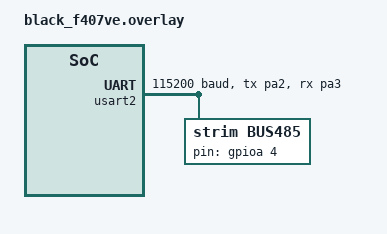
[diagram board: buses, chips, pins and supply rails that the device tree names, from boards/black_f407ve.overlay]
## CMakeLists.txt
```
cmake_minimum_required(VERSION 3.20.0)

list(APPEND ZEPHYR_EXTRA_MODULES "${CMAKE_SOURCE_DIR}/../../Bus485" "${CMAKE_SOURCE_DIR}/.." "${CMAKE_SOURCE_DIR}/../../../boards/third-party")
#list(APPEND ZEPHYR_EXTRA_MODULES "${CMAKE_SOURCE_DIR}/..")
find_package(Zephyr REQUIRED HINTS $ENV{ZEPHYR_BASE})
project(app)

target_sources(app PRIVATE src/main.c)

if(DEFINED CONFIG_BOARD_SEMC_ECX)
  target_sources(app PRIVATE src/arm_mpu_custom_regions.c)
endif()
```

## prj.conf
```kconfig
CONFIG_LOG=y
CONFIG_SHELL=y
CONFIG_LOG_DEFAULT_LEVEL=3
CONFIG_CRC=y

CONFIG_STRIM_BUS485=y

CONFIG_STRIM_METERS2=y
CONFIG_STRIM_METERS2_SHELL=y
CONFIG_STRIM_METERS2_VALID_DATA_TIMEOUT=10000
CONFIG_STRIM_METERS2_BUS485_ENABLE=y

CONFIG_FPU=y
CONFIG_NEWLIB_LIBC=y
CONFIG_NEWLIB_LIBC_FLOAT_PRINTF=y
```

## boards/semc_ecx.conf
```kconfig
CONFIG_NO_OPTIMIZATIONS=y
CONFIG_DEBUG=y
CONFIG_DEBUG_THREAD_INFO=y
CONFIG_OUTPUT_DISASSEMBLY=y

# без загрузочного заголовка
CONFIG_NXP_IMXRT_BOOT_HEADER=n

CONFIG_FLASH_SIZE=11264 
CONFIG_FLASH_BASE_ADDRESS=0x80100000
CONFIG_SRAM_SIZE=20480
CONFIG_SRAM_BASE_ADDRESS=0x80C00000
# по-простому включаем XIP, но FLASH и SRAM размещаем в разных местах SDRAM
# в перспективе надо сделать более умную линковку, чтобы .data не копировалась в SRAM
CONFIG_XIP=y
CONFIG_INIT_ARCH_HW_AT_BOOT=y
CONFIG_NXP_IMX_RT_USER_MPU_REGIONS=y
CONFIG_USERSPACE=y
CONFIG_APPLICATION_DEFINED_SYSCALL=y
CONFIG_STACK_CANARIES=n

# побольше стека, так как форматирование файловой системы много памяти требует
CONFIG_MAIN_STACK_SIZE=16384
CONFIG_ISR_STACK_SIZE=16384
CONFIG_SYSTEM_WORKQUEUE_STACK_SIZE=16384

CONFIG_REBOOT=n

CONFIG_HEAP_MEM_POOL_SIZE=163840

CONFIG_SHELL=y
CONFIG_SHELL_CMDS=n
CONFIG_SHELL_STACK_SIZE=16384
CONFIG_SHELL_BACKEND_SERIAL_LOG_MESSAGE_QUEUE_SIZE=2048

CONFIG_FPU=y
CONFIG_NEWLIB_LIBC=y
CONFIG_NEWLIB_LIBC_FLOAT_PRINTF=y
CONFIG_POSIX_TIMERS=n


#CONFIG_BOOTCONFIG=n
```

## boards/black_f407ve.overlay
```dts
/ { 
    chosen {
        strim,meter-bus485 = &b485;
    };
};

&usart2 {
    current-speed = <115200>;
    pinctrl-0 = <&usart2_tx_pa2 &usart2_rx_pa3>;
    pinctrl-names= "default";
    status="okay";
    b485: bus485 {
        compatible = "strim,bus485";
        pin-gpios = <&gpioa 4 GPIO_ACTIVE_HIGH>;
        label="bus485";
        status="okay";
    };
};
```

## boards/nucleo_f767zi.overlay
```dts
/ { 
    chosen {
        strim,meter-bus485 = &b485;
    };
};

&usart1 {
	pinctrl-0 = <&usart1_tx_pb14 &usart1_rx_pb15>;
	pinctrl-names = "default";
	current-speed = <115200>;
	status = "okay";
    b485_1: bus485 {
        compatible = "strim,bus485";
        pin-gpios = <&gpiob 13 GPIO_ACTIVE_HIGH>;
        label="bus485";
        status="disabled";
    };
};

&usart2 {
    current-speed = <115200>;
    pinctrl-0 = <&usart2_tx_pd5 &usart2_rx_pd6>;
    pinctrl-names= "default";
    status="okay";
    b485: bus485 {
        compatible = "strim,bus485";
        pin-gpios = <&gpiod 4 GPIO_ACTIVE_HIGH>;
        label="bus485";
        status="okay";
    };
};
```

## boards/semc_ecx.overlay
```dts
/ { 
    chosen {
        strim,meter-bus485 = &rs485;
    };
};

&lpuart2 {
    rs485: bus485 {
        compatible = "strim,bus485";
        status="okay";
    };
};
```

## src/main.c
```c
#include <stdio.h>
#include <zephyr/kernel.h>

#include <zephyr/logging/log.h>
#include "meters.h"

LOG_MODULE_REGISTER(app);

meter_parameters_t meters_parameters[] = {
	{.type = meters_type_extern_dc, .address = 1, .current_factor = 1},
	{.type = meters_type_extern_ac, .address = 3, .current_factor = 1},
	{.type = meters_type_Mercury234, .address = 47, .baudrate = 9600, .current_factor = 1},
	/*{.type = meters_type_SPM90,    .address = 1, .baudrate = 9600, .current_factor = 1},
	{.type = meters_type_CE318,    .address = 80114997, .baudrate = 4800, .current_factor = 1},*/
};

int main(void){
	LOG_INF("start sample");
	meters_init(meters_parameters, ARRAY_SIZE(meters_parameters));
	while(1){
		k_msleep(2000);
	}

    return 0;
}
```

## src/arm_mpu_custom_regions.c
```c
/*
 * Copyright (c) 2020 STRIM ALC
 *
 * SPDX-License-Identifier: Apache-2.0
 */

#include <zephyr/devicetree.h>
#include <zephyr/arch/arm/mpu/arm_mpu.h>

#define REGION_RAM_EXEC_ATTR(size) \
{ \
	(NORMAL_OUTER_INNER_WRITE_BACK_WRITE_READ_ALLOCATE_NON_SHAREABLE | \
	 size | P_RW_U_NA_Msk) \
}

static const struct arm_mpu_region mpu_regions[] = {
	/* Region 1 */
	MPU_REGION_ENTRY("SDRAM_ALL",
			 DT_REG_ADDR(DT_CHOSEN(zephyr_sram)),
			 REGION_RAM_EXEC_ATTR(DT_REG_SIZE(DT_CHOSEN(zephyr_sram)))),
	/* Region 2 */
	MPU_REGION_ENTRY("FLASH_0",
			 DT_REG_ADDR(DT_CHOSEN(zephyr_sram)),
			 REGION_FLASH_ATTR(REGION_8M)),
	/* Region 3 */
	MPU_REGION_ENTRY("FLASH_1",
			 DT_REG_ADDR(DT_CHOSEN(zephyr_sram)) + MB(8),
			 REGION_FLASH_ATTR(REGION_4M)),
};

const struct arm_mpu_config mpu_config = {
	.num_regions = ARRAY_SIZE(mpu_regions),
	.mpu_regions = mpu_regions,
};
```
